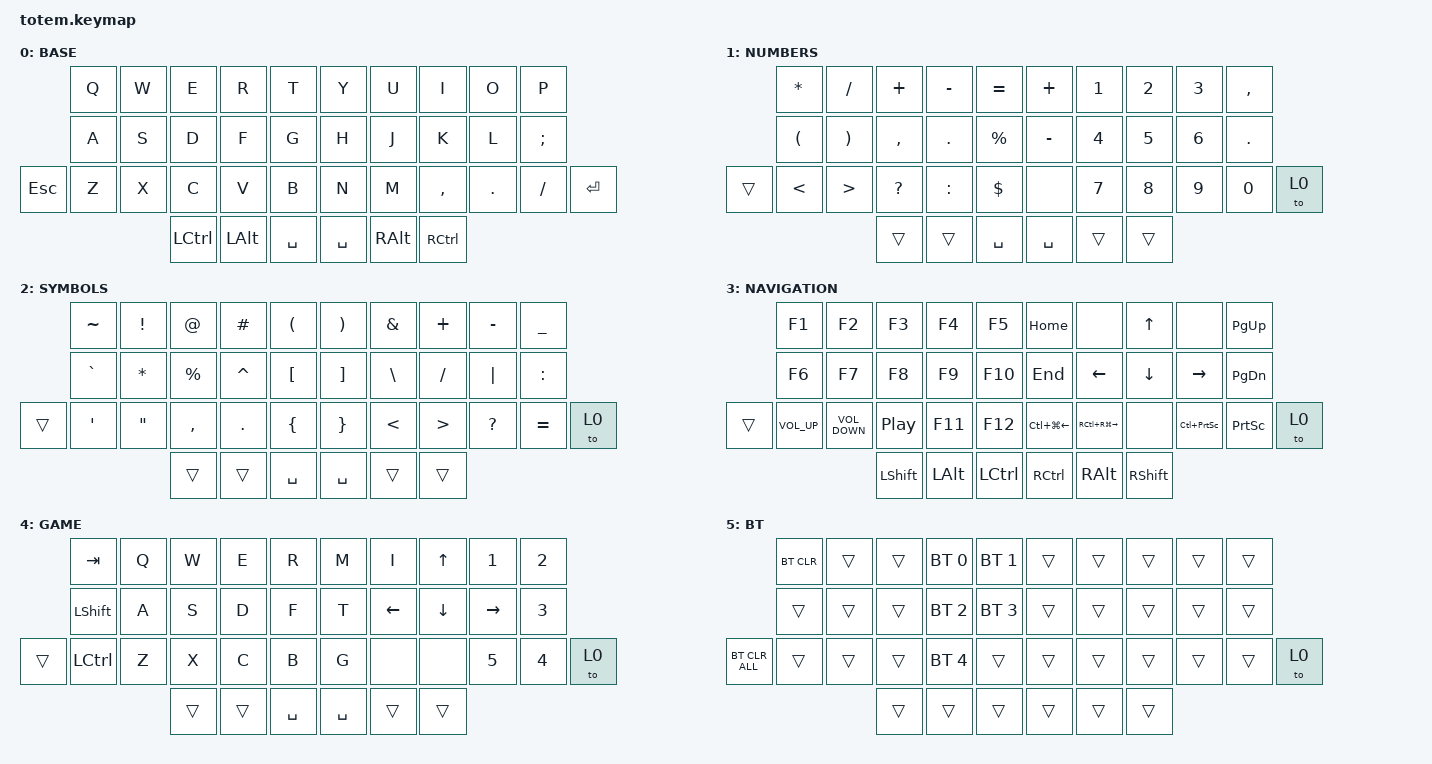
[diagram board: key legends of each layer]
//
//                                                        ▀▀▀▀▀     ▀▀▀▀▀          ▀▀█▀▀
//                                                        ▄▀▀▀▄  ▄  ▄▀▀▀▄  ▄  ▄▀▀▀▄  █  ▄▀▀▀▄
//                                                        █   █  █  █   █  █  █   █  █  █   █
//                                                         ▀▀▀   █   ▀▀▀   █   ▀▀▀   ▀   ▀▀▀
//                                                               █      ▄▄▄█▄▄▄    █   █  
//                                                               ▀      █  █  █     █▄█
//                                                             ▀▀▀▀▀    █  █  █      ▀
//                                                                      ▀  ▀  ▀
//
// ▄▄▄▄▄▄▄▄▄▄▄▄▄▄▄▄▄▄▄▄▄▄▄▄▄▄▄▄▄▄▄▄▄▄▄▄▄▄▄▄▄▄▄▄▄▄▄▄▄▄▄▄▄▄▄▄▄▄▄▄▄▄▄▄▄▄▄▄▄▄▄▄▄▄▄▄▄▄▄▄▄▄▄▄▄▄▄▄▄▄▄▄▄▄▄▄▄▄▄▄▄▄▄▄▄▄▄▄▄▄▄▄▄▄▄▄▄▄▄▄▄▄▄▄▄▄▄▄▄▄▄▄▄▄▄▄▄▄▄▄▄▄▄▄▄▄▄▄▄

#include <behaviors.dtsi>
#include <dt-bindings/zmk/bt.h>
#include <dt-bindings/zmk/keys.h>

#define BASE 0
#define NAV  1
#define SYM  2
#define ADJ  3
#define TVP1 4
#define TVP2 5

&mt {
    quick-tap-ms = <100>;
    global-quick-tap;
    flavor = "tap-preferred";
    tapping-term-ms = <170>;
};

/ {
    combos {
        compatible = "zmk,combos";

        combo_esc {
            timeout-ms = <50>;
            key-positions = <0 1>;
            bindings = <&kp ESC>;
            layers = <0 1 2 3>;
        };

        combo_tab {
            bindings = <&kp TAB>;
            key-positions = <1 2>;
            layers = <0 2 1>;
            timeout-ms = <50>;
        };

        combo_lshift {
            bindings = <&kp LSHFT>;
            key-positions = <11 12>;
            layers = <0 3>;
            timeout-ms = <50>;
        };

        combo_rshift {
            bindings = <&kp RSHIFT>;
            key-positions = <18 17>;
            layers = <0 3>;
            timeout-ms = <50>;
        };

        combo_enter_right {
            bindings = <&kp ENTER>;
            key-positions = <18 17 16>;
            layers = <0 1 2>;
        };

        combo_leyer1 {
            bindings = <&to 1>;
            key-positions = <5 4>;
        };

        combo_layer2 {
            bindings = <&to 2>;
            key-positions = <14 15>;
        };

        combo_layer3 {
            bindings = <&to 3>;
            key-positions = <25 26>;
        };

        combo_layer4 {
            bindings = <&to 4>;
            key-positions = <31 20>;
        };

        combo_layer5 {
            bindings = <&to 5>;
            key-positions = <25 5>;
        };

        combo_temp_shift {
            bindings = <&kp CAPS>;
            key-positions = <35 34>;
            layers = <0>;
        };

        combo_backspace {
            bindings = <&kp BACKSPACE>;
            key-positions = <8 7>;
            layers = <0 1 2 3>;
        };

        mo_number_right {
            bindings = <&mo 1>;
            key-positions = <27 28>;
        };

        mo_number_left {
            bindings = <&mo 1>;
            key-positions = <24 23>;
        };

        mo_symbol_left {
            bindings = <&mo 2>;
            key-positions = <23 22>;
        };

        mo_symbol_right {
            bindings = <&mo 2>;
            key-positions = <29 28>;
        };

        mo_nav_right {
            bindings = <&mo 3>;
            key-positions = <27 29>;
        };

        mo_nav_left {
            bindings = <&mo 3>;
            key-positions = <24 22>;
        };

        combo_enter_left {
            bindings = <&kp ENTER>;
            key-positions = <11 12 13>;
            layers = <0 1 2>;
        };
    };

    macros {
        gif: gif {
            label = "giphy";
            compatible = "zmk,behavior-macro";
            #binding-cells = <0>;
            bindings =
                <&macro_press>,
                <&kp LSHFT>,
                <&macro_tap>,
                <&kp N2>,
                <&macro_release>,
                <&kp LSHFT>,
                <&macro_tap>,
                <&kp G &kp I &kp F>;
        };
    };

    keymap {
        compatible = "zmk,keymap";

        // ▄▄▄▄▄▄▄▄▄▄▄▄▄▄▄▄▄▄▄▄▄▄▄▄▄▄▄▄▄▄▄▄▄▄▄▄▄▄▄▄▄▄▄▄▄▄▄▄▄▄▄▄▄▄▄▄▄▄▄▄▄▄▄▄▄▄▄▄▄▄▄▄▄▄▄▄▄▄▄▄▄▄▄▄▄▄▄▄▄▄▄▄▄▄▄▄▄▄▄▄▄▄▄▄▄▄▄▄▄▄▄▄▄▄▄▄▄▄▄▄▄▄▄▄▄▄▄▄▄▄▄▄▄▄▄▄▄▄▄▄▄▄▄▄▄▄▄▄▄

        base_layer {
            // ┏━━━━━━━━━━━━━━━━━━━━━━━━━━━━━━━━━━━━━━━┓

            label = "BASE";

            // ┗━━━━━━━━━━━━━━━━━━━━━━━━━━━━━━━━━━━━━━━┛
            //             ┏━━━━━━━━━━━┳━━━━━━━━━━━┳━━━━━━━━━━━┳━━━━━━━━━━━┳━━━━━━━━━━━┓   ┏━━━━━━━━━━━┳━━━━━━━━━━━┳━━━━━━━━━━━┳━━━━━━━━━━━┳━━━━━━━━━━━┓
            //             ┃     Q     ┃     W     ┃     F     ┃     P     ┃     G     ┃   ┃     J     ┃     L     ┃     U     ┃     Y     ┃     ;     ┃
            //             ┣━━━━━━━━━━━╋━━━━━━━━━━━╋━━━━━━━━━━━╋━━━━━━━━━━━╋━━━━━━━━━━━┫   ┣━━━━━━━━━━━╋━━━━━━━━━━━╋━━━━━━━━━━━╋━━━━━━━━━━━╋━━━━━━━━━━━┫
            //             ┃     A     ┃     R     ┃     S     ┃     T     ┃     D     ┃   ┃     H     ┃     N     ┃     E     ┃     I     ┃     O     ┃
            // ┏━━━━━━━━━━━╋━━━━━━━━━━━╋━━━━━━━━━━━╋━━━━━━━━━━━╋━━━━━━━━━━━╋━━━━━━━━━━━┫   ┣━━━━━━━━━━━╋━━━━━━━━━━━╋━━━━━━━━━━━╋━━━━━━━━━━━╋━━━━━━━━━━━╋━━━━━━━━━━━┓
            // ┃     Q     ┃     Z     ┃     X     ┃     C     ┃     V     ┃     B     ┃   ┃     K     ┃     M     ┃     ,     ┃     .     ┃     /     ┃     \     ┃
            // ┗━━━━━━━━━━━┻━━━━━━━━━━━┻━━━━━━━━━━━╋━━━━━━━━━━━╋━━━━━━━━━━━╋━━━━━━━━━━━┫   ┣━━━━━━━━━━━╋━━━━━━━━━━━╋━━━━━━━━━━━╋━━━━━━━━━━━┻━━━━━━━━━━━┻━━━━━━━━━━━┛
            //                                     ┃    DEL    ┃    TAB    ┃    SPC    ┃   ┃   ENTER   ┃           ┃   BSPC    ┃
            //                                     ┗━━━━━━━━━━━┻━━━━━━━━━━━┻━━━━━━━━━━━┛   ┗━━━━━━━━━━━┻━━━━━━━━━━━┻━━━━━━━━━━━┛

            bindings = <
            &kp Q  &kp W  &kp E             &kp R         &kp T        &kp Y      &kp U          &kp I              &kp O       &kp P
            &kp A  &kp S  &kp D             &kp F         &kp G        &kp H      &kp J          &kp K              &kp L       &kp SEMICOLON
&kp ESCAPE  &kp Z  &kp X  &kp C             &kp V         &kp B        &kp N      &kp M          &kp COMMA          &kp PERIOD  &kp SLASH      &kp ENTER
                          &kp LEFT_CONTROL  &kp LEFT_ALT  &kp SPACE    &kp SPACE  &kp RIGHT_ALT  &kp RIGHT_CONTROL
            >;
        };

        // ▄▄▄▄▄▄▄▄▄▄▄▄▄▄▄▄▄▄▄▄▄▄▄▄▄▄▄▄▄▄▄▄▄▄▄▄▄▄▄▄▄▄▄▄▄▄▄▄▄▄▄▄▄▄▄▄▄▄▄▄▄▄▄▄▄▄▄▄▄▄▄▄▄▄▄▄▄▄▄▄▄▄▄▄▄▄▄▄▄▄▄▄▄▄▄▄▄▄▄▄▄▄▄▄▄▄▄▄▄▄▄▄▄▄▄▄▄▄▄▄▄▄▄▄▄▄▄▄▄▄▄▄▄▄▄▄▄▄▄▄▄▄▄▄▄▄▄▄▄

        num_layer {
            // ┏━━━━━━━━━━━━━━━━━━━━━━━━━━━━━━━━━━━━━━━┓

            label = "NUMBERS";

            // ┗━━━━━━━━━━━━━━━━━━━━━━━━━━━━━━━━━━━━━━━┛
            //             ┏━━━━━━━━━━━┳━━━━━━━━━━━┳━━━━━━━━━━━┳━━━━━━━━━━━┳━━━━━━━━━━━┓   ┏━━━━━━━━━━━┳━━━━━━━━━━━┳━━━━━━━━━━━┳━━━━━━━━━━━┳━━━━━━━━━━━┓
            //             ┃           ┃           ┃     UP    ┃           ┃     {     ┃   ┃     }     ┃     7     ┃     8     ┃     9     ┃     +     ┃
            //             ┣━━━━━━━━━━━╋━━━━━━━━━━━╋━━━━━━━━━━━╋━━━━━━━━━━━╋━━━━━━━━━━━┫   ┣━━━━━━━━━━━╋━━━━━━━━━━━╋━━━━━━━━━━━╋━━━━━━━━━━━╋━━━━━━━━━━━┫
            //             ┃   SHIFT   ┃   LEFT    ┃    DOWN   ┃   RIGHT   ┃     [     ┃   ┃     ]     ┃     4     ┃     5     ┃     6     ┃     -     ┃
            // ┏━━━━━━━━━━━╋━━━━━━━━━━━╋━━━━━━━━━━━╋━━━━━━━━━━━╋━━━━━━━━━━━╋━━━━━━━━━━━┫   ┣━━━━━━━━━━━╋━━━━━━━━━━━╋━━━━━━━━━━━╋━━━━━━━━━━━╋━━━━━━━━━━━╋━━━━━━━━━━━┓
            // ┃           ┃           ┃   P UP    ┃  C LOCK   ┃  P DOWN   ┃     (     ┃   ┃     )     ┃     1     ┃     2     ┃     3     ┃     *     ┃           ┃
            // ┗━━━━━━━━━━━┻━━━━━━━━━━━┻━━━━━━━━━━━╋━━━━━━━━━━━╋━━━━━━━━━━━╋━━━━━━━━━━━┫   ┣━━━━━━━━━━━╋━━━━━━━━━━━╋━━━━━━━━━━━╋━━━━━━━━━━━┻━━━━━━━━━━━┻━━━━━━━━━━━┛
            //                                     ┃           ┃    TAB    ┃    SPC    ┃   ┃    DEL    ┃     0     ┃           ┃
            //                                     ┗━━━━━━━━━━━┻━━━━━━━━━━━┻━━━━━━━━━━━┛   ┗━━━━━━━━━━━┻━━━━━━━━━━━┻━━━━━━━━━━━┛

            bindings = <
        &kp ASTERISK          &kp SLASH              &kp PLUS      &kp MINUS   &kp EQUAL      &kp PLUS   &kp NUMBER_1  &kp NUMBER_2  &kp NUMBER_3  &kp COMMA
        &kp LEFT_PARENTHESIS  &kp RIGHT_PARENTHESIS  &kp COMMA     &kp PERIOD  &kp PERCENT    &kp MINUS  &kp NUMBER_4  &kp N5        &kp NUMBER_6  &kp PERIOD
&trans  &kp LESS_THAN         &kp GREATER_THAN       &kp QUESTION  &kp COLON   &kp DOLLAR     &none      &kp NUMBER_7  &kp NUMBER_8  &kp NUMBER_9  &kp NUMBER_0  &to 0
                                                     &trans        &trans      &kp SPACE      &kp SPACE  &trans        &trans
            >;
        };

        // ▄▄▄▄▄▄▄▄▄▄▄▄▄▄▄▄▄▄▄▄▄▄▄▄▄▄▄▄▄▄▄▄▄▄▄▄▄▄▄▄▄▄▄▄▄▄▄▄▄▄▄▄▄▄▄▄▄▄▄▄▄▄▄▄▄▄▄▄▄▄▄▄▄▄▄▄▄▄▄▄▄▄▄▄▄▄▄▄▄▄▄▄▄▄▄▄▄▄▄▄▄▄▄▄▄▄▄▄▄▄▄▄▄▄▄▄▄▄▄▄▄▄▄▄▄▄▄▄▄▄▄▄▄▄▄▄▄▄▄▄▄▄▄▄▄▄▄▄▄

        sym_layer {
            // ┏━━━━━━━━━━━━━━━━━━━━━━━━━━━━━━━━━━━━━━━┓

            label = "SYMBOLS";

            // ┗━━━━━━━━━━━━━━━━━━━━━━━━━━━━━━━━━━━━━━━┛
            //             ┏━━━━━━━━━━━┳━━━━━━━━━━━┳━━━━━━━━━━━┳━━━━━━━━━━━┳━━━━━━━━━━━┓   ┏━━━━━━━━━━━┳━━━━━━━━━━━┳━━━━━━━━━━━┳━━━━━━━━━━━┳━━━━━━━━━━━┓
            //             ┃     !     ┃     @     ┃     #     ┃     $     ┃     %     ┃   ┃     ˆ     ┃     &     ┃     Ü     ┃     '     ┃     "     ┃
            //             ┣━━━━━━━━━━━╋━━━━━━━━━━━╋━━━━━━━━━━━╋━━━━━━━━━━━╋━━━━━━━━━━━┫   ┣━━━━━━━━━━━╋━━━━━━━━━━━╋━━━━━━━━━━━╋━━━━━━━━━━━╋━━━━━━━━━━━┫
            //             ┃     Ä     ┃           ┃    SZ     ┃           ┃           ┃   ┃   MUTE    ┃   YEN     ┃   EURO    ┃  POUND    ┃     Ö     ┃
            // ┏━━━━━━━━━━━╋━━━━━━━━━━━╋━━━━━━━━━━━╋━━━━━━━━━━━╋━━━━━━━━━━━╋━━━━━━━━━━━┫   ┣━━━━━━━━━━━╋━━━━━━━━━━━╋━━━━━━━━━━━╋━━━━━━━━━━━╋━━━━━━━━━━━╋━━━━━━━━━━━┓
            // ┃           ┃  EMAIL1   ┃  EMAIL2   ┃           ┃           ┃           ┃   ┃   VOL-    ┃   VOL+    ┃   LAST    ┃   NEXT    ┃     \     ┃           ┃
            // ┗━━━━━━━━━━━┻━━━━━━━━━━━┻━━━━━━━━━━━╋━━━━━━━━━━━╋━━━━━━━━━━━╋━━━━━━━━━━━┫   ┣━━━━━━━━━━━╋━━━━━━━━━━━╋━━━━━━━━━━━╋━━━━━━━━━━━┻━━━━━━━━━━━┻━━━━━━━━━━━┛
            //                                     ┃           ┃    GIF    ┃    ADJ    ┃   ┃           ┃           ┃           ┃
            //                                     ┗━━━━━━━━━━━┻━━━━━━━━━━━┻━━━━━━━━━━━┛   ┗━━━━━━━━━━━┻━━━━━━━━━━━┻━━━━━━━━━━━┛

            bindings = <
        &kp TILDE         &kp EXCLAMATION    &kp AT_SIGN  &kp HASH    &kp LEFT_PARENTHESIS    &kp RIGHT_PARENTHESIS  &kp AMPERSAND  &kp PLUS          &kp MINUS     &kp UNDERSCORE
        &kp GRAVE         &kp ASTERISK       &kp PERCENT  &kp CARET   &kp LEFT_BRACKET        &kp RIGHT_BRACKET      &kp BACKSLASH  &kp SLASH         &kp PIPE      &kp COLON
&trans  &kp SINGLE_QUOTE  &kp DOUBLE_QUOTES  &kp COMMA    &kp PERIOD  &kp LEFT_BRACE          &kp RIGHT_BRACE        &kp LESS_THAN  &kp GREATER_THAN  &kp QUESTION  &kp EQUAL       &to 0
                                             &trans       &trans      &kp SPACE               &kp SPACE              &trans         &trans
            >;
        };

        // ▄▄▄▄▄▄▄▄▄▄▄▄▄▄▄▄▄▄▄▄▄▄▄▄▄▄▄▄▄▄▄▄▄▄▄▄▄▄▄▄▄▄▄▄▄▄▄▄▄▄▄▄▄▄▄▄▄▄▄▄▄▄▄▄▄▄▄▄▄▄▄▄▄▄▄▄▄▄▄▄▄▄▄▄▄▄▄▄▄▄▄▄▄▄▄▄▄▄▄▄▄▄▄▄▄▄▄▄▄▄▄▄▄▄▄▄▄▄▄▄▄▄▄▄▄▄▄▄▄▄▄▄▄▄▄▄▄▄▄▄▄▄▄▄▄▄▄▄▄

        nav_layer {
            // ┏━━━━━━━━━━━━━━━━━━━━━━━━━━━━━━━━━━━━━━━┓

            label = "NAVIGATION";

            // ┗━━━━━━━━━━━━━━━━━━━━━━━━━━━━━━━━━━━━━━━┛
            //             ┏━━━━━━━━━━━┳━━━━━━━━━━━┳━━━━━━━━━━━┳━━━━━━━━━━━┳━━━━━━━━━━━┓   ┏━━━━━━━━━━━┳━━━━━━━━━━━┳━━━━━━━━━━━┳━━━━━━━━━━━┳━━━━━━━━━━━┓
            //             ┃   RESET   ┃ BT CLEAR  ┃  OUT TOG  ┃           ┃           ┃   ┃           ┃    F7     ┃    F8     ┃    F9     ┃    F12    ┃
            //             ┣━━━━━━━━━━━╋━━━━━━━━━━━╋━━━━━━━━━━━╋━━━━━━━━━━━╋━━━━━━━━━━━┫   ┣━━━━━━━━━━━╋━━━━━━━━━━━╋━━━━━━━━━━━╋━━━━━━━━━━━╋━━━━━━━━━━━┫
            //             ┃ BOOTLOAD  ┃ BT NEXT   ┃           ┃           ┃           ┃   ┃           ┃    F4     ┃    F5     ┃    F6     ┃    F11    ┃
            // ┏━━━━━━━━━━━╋━━━━━━━━━━━╋━━━━━━━━━━━╋━━━━━━━━━━━╋━━━━━━━━━━━╋━━━━━━━━━━━┫   ┣━━━━━━━━━━━╋━━━━━━━━━━━╋━━━━━━━━━━━╋━━━━━━━━━━━╋━━━━━━━━━━━╋━━━━━━━━━━━┓
            // ┃           ┃           ┃ BT PREV   ┃           ┃           ┃           ┃   ┃           ┃    F1     ┃    F2     ┃    F3     ┃    F10    ┃           ┃
            // ┗━━━━━━━━━━━┻━━━━━━━━━━━┻━━━━━━━━━━━╋━━━━━━━━━━━╋━━━━━━━━━━━╋━━━━━━━━━━━┫   ┣━━━━━━━━━━━╋━━━━━━━━━━━╋━━━━━━━━━━━╋━━━━━━━━━━━┻━━━━━━━━━━━┻━━━━━━━━━━━┛
            //                                     ┃           ┃           ┃           ┃   ┃           ┃           ┃           ┃
            //                                     ┗━━━━━━━━━━━┻━━━━━━━━━━━┻━━━━━━━━━━━┛   ┗━━━━━━━━━━━┻━━━━━━━━━━━┻━━━━━━━━━━━┛

            bindings = <
        &kp F1           &kp F2             &kp F3            &kp F4        &kp F5       &kp HOME          &none              &kp UP_ARROW     &none                &kp PAGE_UP
        &kp F6           &kp F7             &kp F8            &kp F9        &kp F10      &kp END           &kp LEFT           &kp DOWN         &kp RIGHT            &kp PAGE_DOWN
&trans  &kp C_VOLUME_UP  &kp C_VOLUME_DOWN  &kp C_PLAY_PAUSE  &kp F11       &kp F12      &kp LC(LG(LEFT))  &kp RC(RG(RIGHT))  &none            &kp LC(PRINTSCREEN)  &kp PRINTSCREEN  &to 0
                                            &kp LSHIFT        &kp LEFT_ALT  &kp LCTRL    &kp RCTRL         &kp RIGHT_ALT      &kp RIGHT_SHIFT
            >;
        };

        // ▄▄▄▄▄▄▄▄▄▄▄▄▄▄▄▄▄▄▄▄▄▄▄▄▄▄▄▄▄▄▄▄▄▄▄▄▄▄▄▄▄▄▄▄▄▄▄▄▄▄▄▄▄▄▄▄▄▄▄▄▄▄▄▄▄▄▄▄▄▄▄▄▄▄▄▄▄▄▄▄▄▄▄▄▄▄▄▄▄▄▄▄▄▄▄▄▄▄▄▄▄▄▄▄▄▄▄▄▄▄▄▄▄▄▄▄▄▄▄▄▄▄▄▄▄▄▄▄▄▄▄▄▄▄▄▄▄▄▄▄▄▄▄▄▄▄▄▄▄

        game_layer {
            // ┏━━━━━━━━━━━━━━━━━━━━━━━━━━━━━━━━━━━━━━━┓

            label = "GAME";

            // ┗━━━━━━━━━━━━━━━━━━━━━━━━━━━━━━━━━━━━━━━┛
            //             ┏━━━━━━━━━━━┳━━━━━━━━━━━┳━━━━━━━━━━━┳━━━━━━━━━━━┳━━━━━━━━━━━┓   ┏━━━━━━━━━━━┳━━━━━━━━━━━┳━━━━━━━━━━━┳━━━━━━━━━━━┳━━━━━━━━━━━┓
            //             ┃ NEXT FILE ┃ MARK IN   ┃ ROTATE    ┃ MARK OUT  ┃ SHOW SNAP ┃   ┃           ┃           ┃           ┃           ┃           ┃
            //             ┣━━━━━━━━━━━╋━━━━━━━━━━━╋━━━━━━━━━━━╋━━━━━━━━━━━╋━━━━━━━━━━━┫   ┣━━━━━━━━━━━╋━━━━━━━━━━━╋━━━━━━━━━━━╋━━━━━━━━━━━╋━━━━━━━━━━━┫
            //             ┃ TVP II    ┃ LEFT      ┃ PAN       ┃ RIGHT     ┃ PLAY/FLIP ┃   ┃           ┃           ┃           ┃           ┃           ┃
            // ┏━━━━━━━━━━━╋━━━━━━━━━━━╋━━━━━━━━━━━╋━━━━━━━━━━━╋━━━━━━━━━━━╋━━━━━━━━━━━┫   ┣━━━━━━━━━━━╋━━━━━━━━━━━╋━━━━━━━━━━━╋━━━━━━━━━━━╋━━━━━━━━━━━╋━━━━━━━━━━━┓
            // ┃ FULLSCR   ┃ SHIFT     ┃ COPY      ┃ DELETE    ┃ PASTE     ┃ IMG MARK  ┃   ┃           ┃           ┃           ┃           ┃           ┃           ┃
            // ┗━━━━━━━━━━━┻━━━━━━━━━━━┻━━━━━━━━━━━╋━━━━━━━━━━━╋━━━━━━━━━━━╋━━━━━━━━━━━┫   ┣━━━━━━━━━━━╋━━━━━━━━━━━╋━━━━━━━━━━━╋━━━━━━━━━━━┻━━━━━━━━━━━┻━━━━━━━━━━━┛
            //                                     ┃           ┃ UNDO/SAVE ┃  SEL/MOV  ┃   ┃           ┃           ┃           ┃
            //                                     ┗━━━━━━━━━━━┻━━━━━━━━━━━┻━━━━━━━━━━━┛   ┗━━━━━━━━━━━┻━━━━━━━━━━━┻━━━━━━━━━━━┛

            bindings = <
        &kp TAB     &kp Q  &kp W   &kp E   &kp R        &kp M      &kp I     &kp UP_ARROW  &kp NUMBER_1  &kp NUMBER_2
        &kp LSHIFT  &kp A  &kp S   &kp D   &kp F        &kp T      &kp LEFT  &kp DOWN      &kp RIGHT     &kp NUMBER_3
&trans  &kp LCTRL   &kp Z  &kp X   &kp C   &kp B        &kp G      &none     &none         &kp NUMBER_5  &kp NUMBER_4  &to 0
                           &trans  &trans  &kp SPACE    &kp SPACE  &trans    &trans
            >;
        };

        // ▄▄▄▄▄▄▄▄▄▄▄▄▄▄▄▄▄▄▄▄▄▄▄▄▄▄▄▄▄▄▄▄▄▄▄▄▄▄▄▄▄▄▄▄▄▄▄▄▄▄▄▄▄▄▄▄▄▄▄▄▄▄▄▄▄▄▄▄▄▄▄▄▄▄▄▄▄▄▄▄▄▄▄▄▄▄▄▄▄▄▄▄▄▄▄▄▄▄▄▄▄▄▄▄▄▄▄▄▄▄▄▄▄▄▄▄▄▄▄▄▄▄▄▄▄▄▄▄▄▄▄▄▄▄▄▄▄▄▄▄▄▄▄▄▄▄▄▄▄

        bt_layer {
            // ┏━━━━━━━━━━━━━━━━━━━━━━━━━━━━━━━━━━━━━━━┓

            label = "BT";

            // ┗━━━━━━━━━━━━━━━━━━━━━━━━━━━━━━━━━━━━━━━┛

            bindings = <
                &bt BT_CLR  &trans  &trans  &bt BT_SEL 0  &bt BT_SEL 1    &trans  &trans  &trans  &trans  &trans
                &trans      &trans  &trans  &bt BT_SEL 2  &bt BT_SEL 3    &trans  &trans  &trans  &trans  &trans
&bt BT_CLR_ALL  &trans      &trans  &trans  &bt BT_SEL 4  &trans          &trans  &trans  &trans  &trans  &trans  &to 0
                                    &trans  &trans        &trans          &trans  &trans  &trans
            >;
        };
    };
};
